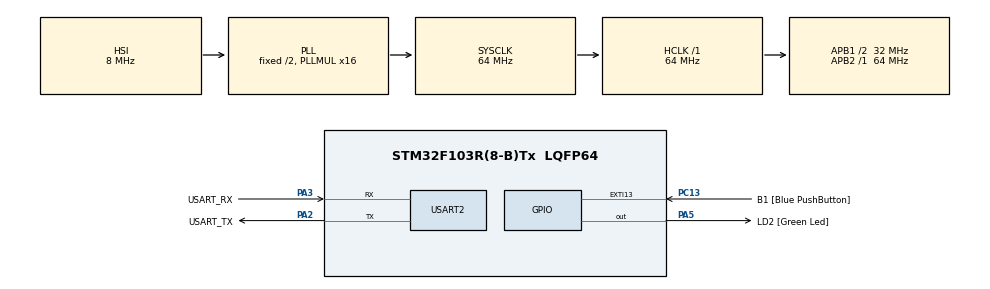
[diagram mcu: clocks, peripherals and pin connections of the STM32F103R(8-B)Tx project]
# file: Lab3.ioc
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Mcu.Family=STM32F1
Mcu.Name=STM32F103R(8-B)Tx
Mcu.Package=LQFP64
NVIC.EXTI15_10_IRQn=true\:0\:0\:false\:false\:true\:true\:true\:true
NVIC.PriorityGroup=NVIC_PRIORITYGROUP_4
NVIC.USART2_IRQn=true\:0\:0\:false\:false\:true\:true\:true\:true
PA13.GPIO_Label=TMS
PA13.Mode=Serial_Wire
PA13.Signal=SYS_JTMS-SWDIO
PA14.GPIO_Label=TCK
PA14.Mode=Serial_Wire
PA14.Signal=SYS_JTCK-SWCLK
PA2.GPIO_Label=USART_TX
PA2.GPIO_Mode=GPIO_MODE_AF_PP
PA2.GPIO_PuPd=GPIO_NOPULL
PA2.GPIO_Speed=GPIO_SPEED_FREQ_LOW
PA2.Mode=Asynchronous
PA2.Signal=USART2_TX
PA3.GPIO_Label=USART_RX
PA3.GPIO_Mode=GPIO_MODE_AF_PP
PA3.GPIO_PuPd=GPIO_NOPULL
PA3.GPIO_Speed=GPIO_SPEED_FREQ_LOW
PA3.Mode=Asynchronous
PA3.Signal=USART2_RX
PA5.GPIO_Label=LD2 [Green Led]
PA5.GPIO_ModeDefaultOutputPP=GPIO_MODE_OUTPUT_PP
PA5.GPIO_PuPd=GPIO_NOPULL
PA5.GPIO_Speed=GPIO_SPEED_FREQ_LOW
PA5.Signal=GPIO_Output
PB3.GPIO_Label=SWO
PB3.Signal=SYS_JTDO-TRACESWO
PC13-TAMPER-RTC.GPIO_Label=B1 [Blue PushButton]
PC13-TAMPER-RTC.GPIO_PuPd=GPIO_NOPULL
PC13-TAMPER-RTC.Signal=GPXTI13
PC14-OSC32_IN.Mode=LSE-External-Oscillator
PC14-OSC32_IN.Signal=RCC_OSC32_IN
PC15-OSC32_OUT.Mode=LSE-External-Oscillator
PC15-OSC32_OUT.Signal=RCC_OSC32_OUT
PD0-OSC_IN.Mode=HSE-External-Clock-Source
PD0-OSC_IN.Signal=RCC_OSC_IN
PD1-OSC_OUT.Mode=HSE-External-Clock-Source
PD1-OSC_OUT.Signal=RCC_OSC_OUT
ProjectManager.HeapSize=0x200
ProjectManager.StackSize=0x400
ProjectManager.TargetToolchain=STM32CubeIDE
RCC.AHBFreq_Value=64000000
RCC.APB1CLKDivider=RCC_HCLK_DIV2
RCC.APB1Freq_Value=32000000
RCC.APB1TimFreq_Value=64000000
RCC.APB2Freq_Value=64000000
RCC.APB2TimFreq_Value=64000000
RCC.HCLKFreq_Value=64000000
RCC.PLLMUL=RCC_PLL_MUL16
RCC.RTCClockSelection=RCC_RTCCLKSOURCE_LSE
RCC.SYSCLKFreq_VALUE=64000000
RCC.SYSCLKSource=RCC_SYSCLKSOURCE_PLLCLK
RCC.USBFreq_Value=64000000
USART2.VirtualMode=VM_ASYNC
board=NUCLEO-F103RB

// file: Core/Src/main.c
/* USER CODE BEGIN Header */
/**
  ******************************************************************************
  * @file           : main.c
  * @brief          : Main program body
  ******************************************************************************
  * @attention
  *
  * Copyright (c) 2024 STMicroelectronics.
  * All rights reserved.
  *
  * This software is licensed under terms that can be found in the LICENSE file
  * in the root directory of this software component.
  * If no LICENSE file comes with this software, it is provided AS-IS.
  *
  ******************************************************************************
  */
/* USER CODE END Header */
#include "main.h"

UART_HandleTypeDef huart2;

/* USER CODE BEGIN PV */
uint8_t cliRXChar;
uint8_t cliBufferTX[30];
uint8_t cliBufferRX[30];
int counter = 0;

/* USER CODE END PV */

void SystemClock_Config(void);
static void MX_GPIO_Init(void);
static void MX_USART2_UART_Init(void);

int main(void)
{

  /* MCU Configuration--------------------------------------------------------*/

  /* Reset of all peripherals, Initializes the Flash interface and the Systick. */
  HAL_Init();

  /* Configure the system clock */
  SystemClock_Config();

  /* Initialize all configured peripherals */
  MX_GPIO_Init();
  MX_USART2_UART_Init();
  /* USER CODE BEGIN 2 */

  HAL_UART_Receive_IT (&huart2, &cliRXChar, 1);

  int timerCounter = 0;
  char counterMessage[] = "counter ";
  char newLineMessage[] = "Enter a command: ";
  char scrollBox[] = "\x1b[5;r";
  char initialMoveCursor[] = "\x1b[5;0H";
  char topMoveCursor[] = "\x1b[0;9H";
  char saveCursor[] = "\x1b[s";
  char restoreCursor[] = "\x1b[u";
  char charTimerCounter[4];
  for(int x = 0; x < sizeof counterMessage; x++)
	  HAL_UART_Transmit(&huart2, (unsigned char *)&counterMessage[x], 1, 100);
  for(int x = 0; x < sizeof scrollBox; x++)
	  HAL_UART_Transmit(&huart2, (unsigned char *)&scrollBox[x], 1, 100);
  for(int x = 0; x < sizeof initialMoveCursor; x++)
	  HAL_UART_Transmit(&huart2, (unsigned char *)&initialMoveCursor[x], 1, 100);
  for(int x = 0; x < sizeof newLineMessage; x++)
  	  HAL_UART_Transmit(&huart2, (unsigned char *)&newLineMessage[x], 1, 100);
  /* USER CODE END 2 */

  /* Infinite loop */
  while (1)
  {

    /* USER CODE BEGIN 3 */

	  HAL_Delay(1000);
	  sprintf (charTimerCounter, "%d", timerCounter);
	  for(int x = 0; x < sizeof saveCursor; x++)
		  HAL_UART_Transmit(&huart2, (unsigned char *)&saveCursor[x], 1, 100);
	  for(int x = 0; x < sizeof topMoveCursor; x++)
		  HAL_UART_Transmit(&huart2, (unsigned char *)&topMoveCursor[x], 1, 100);
	  for(int x = 0; x < sizeof charTimerCounter; x++)
		  HAL_UART_Transmit(&huart2, (unsigned char *)&charTimerCounter[x], 1, 100);
	  for(int x = 0; x < sizeof restoreCursor; x++)
		  HAL_UART_Transmit(&huart2, (unsigned char *)&restoreCursor[x], 1, 100);
	  timerCounter++;

  }
  /* USER CODE END 3 */
}

void SystemClock_Config(void)
{
  RCC_OscInitTypeDef RCC_OscInitStruct = {0};
  RCC_ClkInitTypeDef RCC_ClkInitStruct = {0};

  /** Initializes the RCC Oscillators according to the specified parameters
  * in the RCC_OscInitTypeDef structure.
  */
  RCC_OscInitStruct.OscillatorType = RCC_OSCILLATORTYPE_HSI;
  RCC_OscInitStruct.HSIState = RCC_HSI_ON;
  RCC_OscInitStruct.HSICalibrationValue = RCC_HSICALIBRATION_DEFAULT;
  RCC_OscInitStruct.PLL.PLLState = RCC_PLL_ON;
  RCC_OscInitStruct.PLL.PLLSource = RCC_PLLSOURCE_HSI_DIV2;
  RCC_OscInitStruct.PLL.PLLMUL = RCC_PLL_MUL16;
  if (HAL_RCC_OscConfig(&RCC_OscInitStruct) != HAL_OK)
  {
    Error_Handler();
  }

  /** Initializes the CPU, AHB and APB buses clocks
  */
  RCC_ClkInitStruct.ClockType = RCC_CLOCKTYPE_HCLK|RCC_CLOCKTYPE_SYSCLK
                              |RCC_CLOCKTYPE_PCLK1|RCC_CLOCKTYPE_PCLK2;
  RCC_ClkInitStruct.SYSCLKSource = RCC_SYSCLKSOURCE_PLLCLK;
  RCC_ClkInitStruct.AHBCLKDivider = RCC_SYSCLK_DIV1;
  RCC_ClkInitStruct.APB1CLKDivider = RCC_HCLK_DIV2;
  RCC_ClkInitStruct.APB2CLKDivider = RCC_HCLK_DIV1;

  if (HAL_RCC_ClockConfig(&RCC_ClkInitStruct, FLASH_LATENCY_2) != HAL_OK)
  {
    Error_Handler();
  }
}

static void MX_USART2_UART_Init(void)
{

  huart2.Instance = USART2;
  huart2.Init.BaudRate = 115200;
  huart2.Init.WordLength = UART_WORDLENGTH_8B;
  huart2.Init.StopBits = UART_STOPBITS_1;
  huart2.Init.Parity = UART_PARITY_NONE;
  huart2.Init.Mode = UART_MODE_TX_RX;
  huart2.Init.HwFlowCtl = UART_HWCONTROL_NONE;
  huart2.Init.OverSampling = UART_OVERSAMPLING_16;
  if (HAL_UART_Init(&huart2) != HAL_OK)
  {
    Error_Handler();
  }

}

static void MX_GPIO_Init(void)
{
  GPIO_InitTypeDef GPIO_InitStruct = {0};

  /* GPIO Ports Clock Enable */
  __HAL_RCC_GPIOC_CLK_ENABLE();
  __HAL_RCC_GPIOD_CLK_ENABLE();
  __HAL_RCC_GPIOA_CLK_ENABLE();
  __HAL_RCC_GPIOB_CLK_ENABLE();

  /*Configure GPIO pin Output Level */
  HAL_GPIO_WritePin(LD2_GPIO_Port, LD2_Pin, GPIO_PIN_RESET);

  /*Configure GPIO pin : B1_Pin */
  GPIO_InitStruct.Pin = B1_Pin;
  GPIO_InitStruct.Mode = GPIO_MODE_IT_RISING;
  GPIO_InitStruct.Pull = GPIO_NOPULL;
  HAL_GPIO_Init(B1_GPIO_Port, &GPIO_InitStruct);

  /*Configure GPIO pin : LD2_Pin */
  GPIO_InitStruct.Pin = LD2_Pin;
  GPIO_InitStruct.Mode = GPIO_MODE_OUTPUT_PP;
  GPIO_InitStruct.Pull = GPIO_NOPULL;
  GPIO_InitStruct.Speed = GPIO_SPEED_FREQ_LOW;
  HAL_GPIO_Init(LD2_GPIO_Port, &GPIO_InitStruct);

  /* EXTI interrupt init*/
  HAL_NVIC_SetPriority(EXTI15_10_IRQn, 0, 0);
  HAL_NVIC_EnableIRQ(EXTI15_10_IRQn);

}

/* USER CODE BEGIN 4 */

void HAL_UART_RxCpltCallback(UART_HandleTypeDef * husart)
{
	//uint8_t cliBufferRX[30];
	int isLED = 0;
	char newLineMessage[] = "Enter a command: ";
	char error[] = "Error: not a valid command. Type 'help' to see commands";
	char help[] = "'on': turns the led on 'off' turns the led off and 'status' tells you the state of the led";
	char status[] = "The LED is: ";
	char isOn[] = "on";
	char isOff[] = "off";
	//int counter = 0;
	char newLine = '\n';
	char cr = '\r';
	HAL_UART_Transmit(&huart2, (unsigned char *)&cliRXChar, 1, 100);

	if (cliRXChar == 0x0D)
			{
				HAL_UART_Transmit(&huart2, (unsigned char *)&newLine, 1, 100);
				if (cliBufferRX[0] == 'o' && cliBufferRX[1] == 'n')
				{
					HAL_GPIO_WritePin(GPIOA, GPIO_PIN_5, GPIO_PIN_SET);
					isLED = 1;
					cliRXChar = 0;
					counter = 0;
				}

				else if (cliBufferRX[0] == 'o' && cliBufferRX[1] == 'f' && cliBufferRX[2] == 'f')
				{
					HAL_GPIO_WritePin(GPIOA, GPIO_PIN_5, GPIO_PIN_RESET);
					isLED = 0;
					cliRXChar = 0;
					counter = 0;
				}
				else if (cliBufferRX[0] == 's' && cliBufferRX[1] == 't' && cliBufferRX[2] == 'a' && cliBufferRX[3] == 't' && cliBufferRX[4] == 'u' && cliBufferRX[5] == 's')
				{

					cliRXChar = 0;
					counter = 0;
					for(int x = 0; x < sizeof status; x++)
							HAL_UART_Transmit(&huart2, (unsigned char *)&status[x], 1, 100);
					if (isLED == 1)
					{
						for(int x = 0; x < sizeof isOn; x++)
							HAL_UART_Transmit(&huart2, (unsigned char *)&isOn[x], 1, 100);
					}
					else
					{
						for(int x = 0; x < sizeof isOff; x++)
							HAL_UART_Transmit(&huart2, (unsigned char *)&isOff[x], 1, 100);
					}
					HAL_UART_Transmit(&huart2, (unsigned char *)&newLine, 1, 100);
					HAL_UART_Transmit(&huart2, (unsigned char *)&newLine, 1, 100);
					HAL_UART_Transmit(&huart2, (unsigned char *)&cr, 1, 100);
				}
				else if (cliBufferRX[0] == 'h' && cliBufferRX[1] == 'e' && cliBufferRX[2] == 'l' && cliBufferRX[3] == 'p')
				{

					cliRXChar = 0;
					counter = 0;
					for(int x = 0; x < sizeof help; x++)
						HAL_UART_Transmit(&huart2, (unsigned char *)&help[x], 1, 100);
					HAL_UART_Transmit(&huart2, (unsigned char *)&newLine, 1, 100);
					HAL_UART_Transmit(&huart2, (unsigned char *)&newLine, 1, 100);
					HAL_UART_Transmit(&huart2, (unsigned char *)&cr, 1, 100);
				}
				else
				{
					cliRXChar = 0;
					counter = 0;
					for(int x = 0; x < sizeof error; x++)
							HAL_UART_Transmit(&huart2, (unsigned char *)&error[x], 1, 100);
					HAL_UART_Transmit(&huart2, (unsigned char *)&newLine, 1, 100);
					HAL_UART_Transmit(&huart2, (unsigned char *)&newLine, 1, 100);
					HAL_UART_Transmit(&huart2, (unsigned char *)&cr, 1, 100);
				}
				for(int x = 0; x < sizeof newLineMessage; x++)
					HAL_UART_Transmit(&huart2, (unsigned char *)&newLineMessage[x], 1, 100);
				for(size_t i = 0; i < sizeof cliBufferRX; i++)
					cliBufferRX[i] = 0;
			}
			else if (cliRXChar == 0x7F)
			{
				counter --;
				cliBufferRX[counter] = 0;
				cliRXChar = 0;
			}
			else
			{
				cliBufferRX[counter] = cliRXChar;
				cliRXChar = 0;
				counter++;
			}

	while((HAL_UART_GetState(&huart2)&HAL_UART_STATE_BUSY_RX)==HAL_UART_STATE_BUSY_RX);
	//Listen for the interrupt and buffer one character at a time.
	HAL_UART_Receive_IT(&huart2, &cliRXChar ,1);
}

/* USER CODE END 4 */

void Error_Handler(void)
{
  __disable_irq();
  while (1)
  {
  }
}
